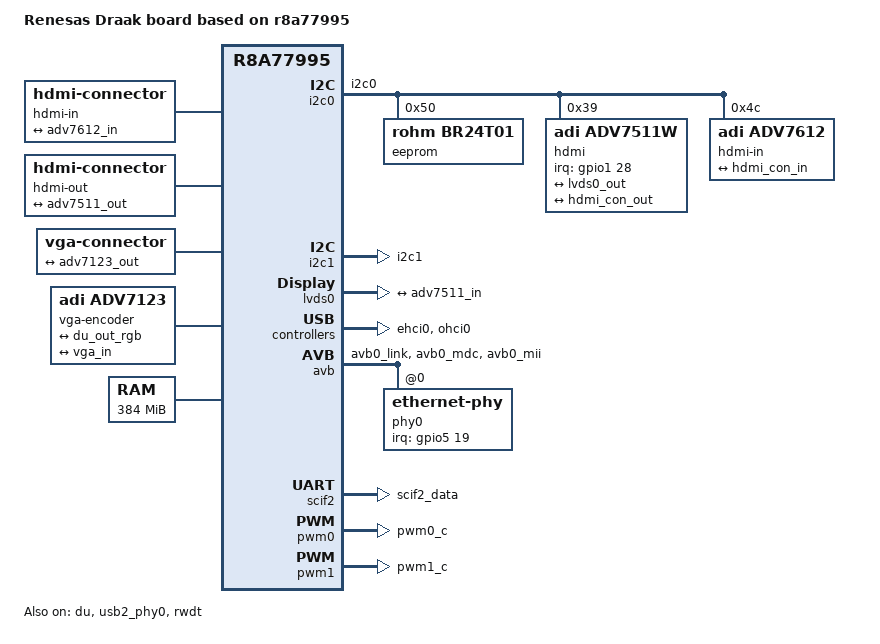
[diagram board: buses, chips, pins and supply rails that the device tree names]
/*
 * Device Tree Source for the Draak board
 *
 * Copyright (C) 2016 Renesas Electronics Corp.
 * Copyright (C) 2017 Glider bvba
 *
 * This file is licensed under the terms of the GNU General Public License
 * version 2.  This program is licensed "as is" without any warranty of any
 * kind, whether express or implied.
 */

/dts-v1/;
#include "r8a77995.dtsi"
#include <dt-bindings/gpio/gpio.h>

/ {
	model = "Renesas Draak board based on r8a77995";
	compatible = "renesas,draak", "renesas,r8a77995";

	aliases {
		serial0 = &scif2;
		ethernet0 = &avb;
	};

	chosen {
		bootargs = "ignore_loglevel";
		stdout-path = "serial0:115200n8";
	};

	hdmi-in {
		compatible = "hdmi-connector";
		type = "a";

		port {
			hdmi_con_in: endpoint {
				remote-endpoint = <&adv7612_in>;
			};
		};
	};

	hdmi-out {
		compatible = "hdmi-connector";
		type = "a";

		port {
			hdmi_con_out: endpoint {
				remote-endpoint = <&adv7511_out>;
			};
		};
	};

	vga {
		compatible = "vga-connector";

		port {
			vga_in: endpoint {
				remote-endpoint = <&adv7123_out>;
			};
		};
	};

	vga-encoder {
		compatible = "adi,adv7123";

		ports {
			#address-cells = <1>;
			#size-cells = <0>;

			port@0 {
				reg = <0>;
				adv7123_in: endpoint {
					remote-endpoint = <&du_out_rgb>;
				};
			};
			port@1 {
				reg = <1>;
				adv7123_out: endpoint {
					remote-endpoint = <&vga_in>;
				};
			};
		};
	};

	memory@48000000 {
		device_type = "memory";
		/* first 128MB is reserved for secure area. */
		reg = <0x0 0x48000000 0x0 0x18000000>;
	};
};

&extal_clk {
	clock-frequency = <48000000>;
};

&pfc {
	avb0_pins: avb {
		mux {
			groups = "avb0_link", "avb0_mdc", "avb0_mii";
			function = "avb0";
		};
	};

	du_pins: du {
		groups = "du_rgb888", "du_sync", "du_disp", "du_clk_out_0";
		function = "du";
	};

	i2c0_pins: i2c0 {
		groups = "i2c0";
		function = "i2c0";
	};

	i2c1_pins: i2c1 {
		groups = "i2c1";
		function = "i2c1";
	};

	pwm0_pins: pwm0 {
		groups = "pwm0_c";
		function = "pwm0";
	};

	pwm1_pins: pwm1 {
		groups = "pwm1_c";
		function = "pwm1";
	};

	scif2_pins: scif2 {
		groups = "scif2_data";
		function = "scif2";
	};

	usb0_pins: usb0 {
		groups = "usb0";
		function = "usb0";
	};
};

&i2c0 {
	pinctrl-0 = <&i2c0_pins>;
	pinctrl-names = "default";
	status = "okay";

	eeprom@50 {
		compatible = "rohm,br24t01", "atmel,24c01";
		reg = <0x50>;
		pagesize = <8>;
	};

	hdmi@39 {
		compatible = "adi,adv7511w";
		reg = <0x39>, <0x3f>, <0x38>, <0x3c>;
		reg-names = "main", "edid", "packet", "cec";
		interrupt-parent = <&gpio1>;
		interrupts = <28 IRQ_TYPE_LEVEL_LOW>;

		adi,input-depth = <8>;
		adi,input-colorspace = "rgb";
		adi,input-clock = "1x";
		adi,input-style = <1>;
		adi,input-justification = "evenly";

		ports {
			#address-cells = <1>;
			#size-cells = <0>;

			port@0 {
				reg = <0>;
				adv7511_in: endpoint {
					remote-endpoint = <&lvds0_out>;
				};
			};

			port@1 {
				reg = <1>;
				adv7511_out: endpoint {
					remote-endpoint = <&hdmi_con_out>;
				};
			};
		};
	};

	hdmi-in@4c {
		compatible = "adi,adv7612";
		reg = <0x4c>, <0x5a>, <0x5b>, <0x5c>, <0x5d>, <0x5e>, <0x5f>,
		      <0x6a>, <0x6b>, <0x6c>, <0x6d>, <0x6e>, <0x6f>;
		reg-names = "main", "avlink", "cec", "infoframe", "esdp",
			    "dpp", "afe", "rep", "edid", "hdmi", "test",
			    "cp", "vdp";

		/* ADV7612_INTn connected only to test point CP56. */

		default-input = <0>;

		ports {
			#address-cells = <1>;
			#size-cells = <0>;

			port@0 {
				reg = <0>;
				adv7612_in: endpoint {
					remote-endpoint = <&hdmi_con_in>;
				};
			};

			port@2 {
				reg = <2>;
				adv7612_out: endpoint {
					// remote-endpoint = <&vin0ep2>;
				};
			};
		};
	};
};

&i2c1 {
	pinctrl-0 = <&i2c1_pins>;
	pinctrl-names = "default";
	status = "okay";
};

&du {
	pinctrl-0 = <&du_pins>;
	pinctrl-names = "default";
	status = "okay";

	ports {
		port@0 {
			endpoint {
				remote-endpoint = <&adv7123_in>;
			};
		};
	};
};

&lvds0 {
	status = "okay";

	ports {
		port@1 {
			endpoint {
				remote-endpoint = <&adv7511_in>;
			};
		};
	};
};

&ehci0 {
	status = "okay";
};

&ohci0 {
	status = "okay";
};

&avb {
	pinctrl-0 = <&avb0_pins>;
	pinctrl-names = "default";
	renesas,no-ether-link;
	phy-handle = <&phy0>;
	status = "okay";

	phy0: ethernet-phy@0 {
		rxc-skew-ps = <1500>;
		reg = <0>;
		interrupt-parent = <&gpio5>;
		interrupts = <19 IRQ_TYPE_LEVEL_LOW>;
	};
};

&scif2 {
	pinctrl-0 = <&scif2_pins>;
	pinctrl-names = "default";

	status = "okay";
};

&usb2_phy0 {
	pinctrl-0 = <&usb0_pins>;
	pinctrl-names = "default";

	status = "okay";
};

&pwm0 {
	pinctrl-0 = <&pwm0_pins>;
	pinctrl-names = "default";

	status = "okay";
};

&pwm1 {
	pinctrl-0 = <&pwm1_pins>;
	pinctrl-names = "default";

	status = "okay";
};

&rwdt {
	timeout-sec = <60>;
	status = "okay";
};
